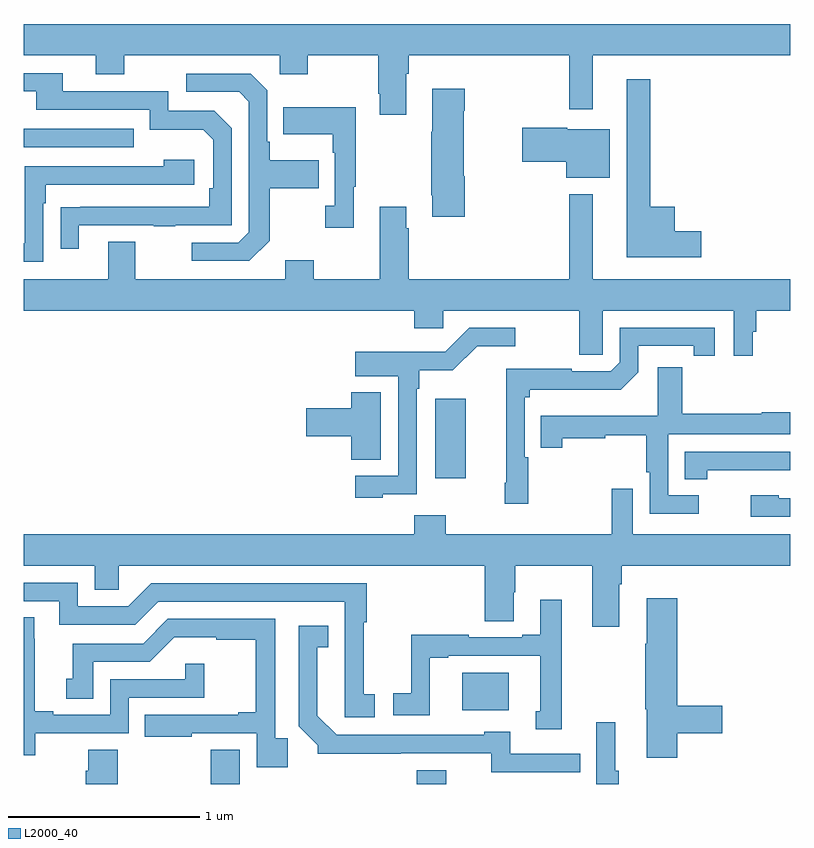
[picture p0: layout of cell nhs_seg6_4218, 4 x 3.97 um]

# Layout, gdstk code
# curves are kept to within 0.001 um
import gdstk
lib = gdstk.Library(unit=1e-6, precision=1e-09)
def R(c, l, rs):  # rectangles x0, y0, x1, y1
    for r in rs: c.add(gdstk.rectangle(r[:2], r[2:], *l))
def P(c, l, *ps):  # polygons
    for p in ps: c.add(gdstk.Polygon(p, *l))
L2000_40 = (2000, 40)

nhs_seg6_4218 = lib.new_cell('nhs_seg6_4218')
R(nhs_seg6_4218, L2000_40, [(359.975,975.5,360.127,975.68), (361.052,975.5,361.204,975.571), (361.289,975.884,361.531,976.081), (361.148,977.097,361.306,977.512), (359,978.825,359.573,978.921)])
P(nhs_seg6_4218, L2000_40, [(360.997,979.208),(361.01,979.208),(361.01,979.304),(361.848,979.304),(361.848,979.023),(361.969,979.023),(361.969,979.304),(363,979.304),(363,979.468),(359,979.468),(359,979.304),(359.375,979.304),(359.375,979.205),(359.523,979.205),(359.523,979.304),(360.336,979.304),(360.336,979.205),(360.483,979.205),(360.483,979.304),(360.85,979.304),(360.85,979.105),(360.857,979.105),(360.857,978.993),(360.997,978.993)],
  [(359.287,978.417),(359.677,978.417),(359.677,978.412),(359.789,978.412),(359.789,978.417),(360.084,978.417),(360.084,978.924),(359.994,979.014),(359.754,979.014),(359.754,979.116),(359.203,979.116),(359.203,979.212),(359,979.212),(359,979.116),(359.063,979.116),(359.063,979.02),(359.658,979.02),(359.658,978.917),(359.935,978.917),(359.988,978.864),(359.988,978.61),(359.968,978.61),(359.968,978.513),(359.191,978.512),(359.191,978.294),(359.287,978.294)],
  [(360.283,978.337),(360.283,978.61),(360.539,978.61),(360.539,978.757),(360.283,978.757),(360.283,978.853),(360.27,978.853),(360.27,979.122),(360.183,979.209),(359.847,979.209),(359.847,979.113),(360.123,979.113),(360.174,979.062),(360.174,978.381),(360.12,978.327),(359.877,978.327),(359.877,978.231),(360.177,978.231)],
  [(362.536,978.386),(362.398,978.386),(362.398,978.514),(362.269,978.514),(362.269,979.18),(362.147,979.18),(362.147,978.251),(362.536,978.251)],
  [(361.301,978.674),(361.296,978.674),(361.296,979.016),(361.301,979.016),(361.301,979.129),(361.133,979.129),(361.133,978.905),(361.126,978.905),(361.126,978.574),(361.133,978.574),(361.133,978.462),(361.301,978.462)],
  [(360.721,978.617),(360.733,978.617),(360.733,979.033),(360.355,979.033),(360.355,978.893),(360.612,978.893),(360.612,978.797),(360.624,978.797),(360.624,978.518),(360.573,978.518),(360.573,978.405),(360.721,978.405)],
  [(362.059,978.919),(361.836,978.919),(361.836,978.927),(361.602,978.927),(361.602,978.749),(361.832,978.749),(361.832,978.665),(362.059,978.665)],
  [(359.1,978.533),(359.113,978.533),(359.113,978.63),(359.89,978.63),(359.89,978.76),(359.729,978.76),(359.729,978.726),(359.004,978.726),(359.004,978.324),(359,978.324),(359,978.228),(359.1,978.228)],
  [(362.806,977.862),(362.824,977.862),(362.824,977.972),(363,977.972),(363,978.136),(361.969,978.136),(361.969,978.58),(361.848,978.58),(361.848,978.136),(361.01,978.136),(361.01,978.401),(360.997,978.401),(360.997,978.514),(360.857,978.514),(360.857,978.136),(360.513,978.136),(360.513,978.235),(360.365,978.235),(360.365,978.136),(359.581,978.136),(359.581,978.331),(359.441,978.331),(359.441,978.136),(359,978.136),(359,977.972),(361.037,977.972),(361.037,977.879),(361.188,977.879),(361.188,977.972),(361.9,977.972),(361.9,977.74),(362.022,977.74),(362.022,977.972),(362.705,977.972),(362.705,977.736),(362.806,977.736)],
  [(361.634,977.206),(361.614,977.206),(361.614,977.52),(361.642,977.52),(361.642,977.558),(362.117,977.558),(362.208,977.649),(362.208,977.787),(362.498,977.787),(362.498,977.736),(362.608,977.736),(362.608,977.883),(362.112,977.883),(362.112,977.703),(362.064,977.655),(361.861,977.655),(361.861,977.668),(361.517,977.668),(361.517,977.074),(361.511,977.074),(361.511,976.962),(361.634,976.962)],
  [(360.873,977.013),(361.05,977.013),(361.05,977.564),(361.063,977.564),(361.063,977.66),(361.24,977.66),(361.366,977.786),(361.564,977.786),(361.564,977.883),(361.325,977.883),(361.199,977.757),(360.729,977.758),(360.729,977.63),(360.954,977.63),(360.954,977.109),(360.729,977.109),(360.729,976.994),(360.873,976.994)],
  [(362.524,977.007),(362.364,977.007),(362.364,977.325),(363,977.325),(363,977.441),(362.851,977.441),(362.851,977.434),(362.437,977.434),(362.437,977.677),(362.309,977.677),(362.309,977.422),(361.699,977.422),(361.699,977.256),(361.81,977.256),(361.81,977.305),(362.034,977.305),(362.034,977.32),(362.248,977.32),(362.248,977.128),(362.268,977.128),(362.268,976.911),(362.524,976.911)],
  [(360.862,977.545),(360.71,977.545),(360.71,977.462),(360.474,977.462),(360.474,977.315),(360.71,977.315),(360.71,977.194),(360.862,977.194)],
  [(362.568,977.138),(363,977.138),(363,977.235),(362.449,977.235),(362.449,977.092),(362.568,977.092)],
  [(362.107,976.544),(362.12,976.544),(362.12,976.64),(363,976.64),(363,976.804),(362.178,976.804),(362.178,977.041),(362.07,977.041),(362.07,976.804),(361.202,976.804),(361.202,976.903),(361.037,976.903),(361.037,976.804),(359,976.804),(359,976.64),(359.369,976.64),(359.369,976.513),(359.496,976.513),(359.496,976.64),(361.406,976.64),(361.406,976.351),(361.558,976.351),(361.558,976.502),(361.566,976.502),(361.566,976.64),(361.967,976.64),(361.967,976.32),(362.107,976.32)],
  [(363,976.992),(362.94,976.992),(362.94,977.008),(362.796,977.008),(362.796,976.896),(363,976.896)],
  [(360.832,975.969),(360.774,975.969),(360.774,976.345),(360.791,976.345),(360.791,976.548),(359.664,976.548),(359.544,976.428),(359.28,976.428),(359.28,976.551),(359,976.551),(359,976.455),(359.184,976.455),(359.184,976.332),(359.58,976.332),(359.7,976.452),(360.675,976.452),(360.674,975.849),(360.832,975.849)],
  [(362.411,975.766),(362.647,975.766),(362.647,975.908),(362.411,975.908),(362.411,976.471),(362.252,976.471),(362.252,976.232),(362.245,976.232),(362.245,975.891),(362.252,975.891),(362.252,975.636),(362.411,975.636)],
  [(361.807,976.462),(361.697,976.462),(361.697,976.279),(361.601,976.279),(361.601,976.266),(361.322,976.266),(361.322,976.279),(361.021,976.279),(361.021,975.974),(360.927,975.974),(360.927,975.858),(361.12,975.858),(361.12,976.158),(361.216,976.158),(361.216,976.17),(361.697,976.17),(361.697,975.879),(361.673,975.879),(361.673,975.785),(361.807,975.785)],
  [(359.06,975.765),(359.547,975.765),(359.547,975.951),(359.942,975.951),(359.942,976.129),(359.841,976.129),(359.841,976.047),(359.451,976.047),(359.451,975.861),(359.152,975.861),(359.152,975.881),(359.056,975.881),(359.056,976.259),(359.054,976.259),(359.054,976.37),(359,976.37),(359,975.651),(359.06,975.651)],
  [(360.377,975.739),(360.312,975.739),(360.312,976.362),(359.751,976.362),(359.622,976.233),(359.255,976.233),(359.255,976.05),(359.222,976.05),(359.222,975.946),(359.362,975.946),(359.362,976.137),(359.658,976.137),(359.786,976.265),(360.005,976.265),(360.005,976.254),(360.211,976.254),(360.211,975.874),(360.119,975.874),(360.119,975.861),(359.632,975.861),(359.632,975.746),(359.875,975.746),(359.875,975.765),(360.216,975.765),(360.216,975.588),(360.377,975.588)],
  [(361.904,975.657),(361.54,975.657),(361.54,975.772),(361.404,975.772),(361.404,975.756),(360.633,975.756),(360.532,975.857),(360.532,976.214),(360.59,976.214),(360.59,976.327),(360.435,976.327),(360.435,975.802),(360.534,975.703),(360.534,975.659),(361.441,975.66),(361.441,975.561),(361.904,975.561)],
  [(362.105,975.568),(362.086,975.568),(362.086,975.823),(361.989,975.823),(361.989,975.5),(362.105,975.5)],
  [(359.489,975.68),(359.336,975.68),(359.336,975.57),(359.324,975.57),(359.324,975.5),(359.489,975.5)])

lib.write_gds('nhs_seg6_4218.gds')
